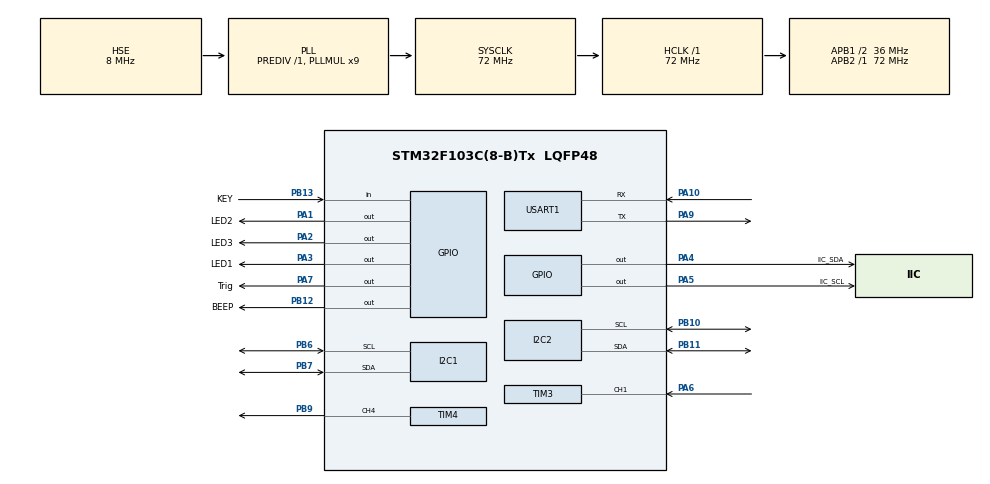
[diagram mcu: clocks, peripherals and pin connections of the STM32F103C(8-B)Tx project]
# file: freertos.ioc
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FREERTOS.Tasks01=myTask01,0,128,StartDefaultTask,Default,NULL,Dynamic,NULL,NULL;myTask02,-3,64,StartTask02,Default,NULL,Dynamic,NULL,NULL;myTask03,-3,64,StartTask03,Default,NULL,Dynamic,NULL,NULL;myTask04,-3,64,StartTask04,Default,NULL,Dynamic,NULL,NULL;myTask05,-3,64,StartTask05,Default,NULL,Dynamic,NULL,NULL;myTask06,-3,128,StartTask06,Default,NULL,Dynamic,NULL,NULL
FREERTOS.configMINIMAL_STACK_SIZE=64
Mcu.Family=STM32F1
Mcu.Name=STM32F103C(8-B)Tx
Mcu.Package=LQFP48
NVIC.PriorityGroup=NVIC_PRIORITYGROUP_4
NVIC.TIM1_UP_IRQn=true\:15\:0\:false\:false\:true\:false\:false\:true\:true
NVIC.TIM3_IRQn=true\:5\:0\:true\:false\:true\:true\:true\:true\:true
NVIC.TimeBase=TIM1_UP_IRQn
NVIC.TimeBaseIP=TIM1
PA1.GPIO_Label=LED2
PA1.GPIO_PuPd=GPIO_PULLUP
PA1.GPIO_Speed=GPIO_SPEED_FREQ_HIGH
PA1.PinState=GPIO_PIN_RESET
PA1.Signal=GPIO_Output
PA10.Mode=Asynchronous
PA10.Signal=USART1_RX
PA13.Mode=Serial_Wire
PA13.Signal=SYS_JTMS-SWDIO
PA14.Mode=Serial_Wire
PA14.Signal=SYS_JTCK-SWCLK
PA2.GPIO_Label=LED3
PA2.GPIO_PuPd=GPIO_PULLUP
PA2.GPIO_Speed=GPIO_SPEED_FREQ_HIGH
PA2.Signal=GPIO_Output
PA3.GPIO_Label=LED1
PA3.GPIO_PuPd=GPIO_PULLUP
PA3.GPIO_Speed=GPIO_SPEED_FREQ_HIGH
PA3.Signal=GPIO_Output
PA4.GPIO_Label=IIC_SDA
PA4.GPIO_ModeDefaultOutputPP=GPIO_MODE_OUTPUT_OD
PA4.GPIO_PuPd=GPIO_PULLUP
PA4.GPIO_Speed=GPIO_SPEED_FREQ_HIGH
PA4.PinState=GPIO_PIN_SET
PA4.Signal=GPIO_Output
PA5.GPIO_Label=IIC_SCL
PA5.GPIO_ModeDefaultOutputPP=GPIO_MODE_OUTPUT_OD
PA5.GPIO_PuPd=GPIO_PULLUP
PA5.GPIO_Speed=GPIO_SPEED_FREQ_HIGH
PA5.PinState=GPIO_PIN_SET
PA5.Signal=GPIO_Output
PA6.Signal=S_TIM3_CH1
PA7.GPIO_Label=Trig
PA7.GPIO_PuPd=GPIO_PULLUP
PA7.GPIO_Speed=GPIO_SPEED_FREQ_HIGH
PA7.Signal=GPIO_Output
PA9.Mode=Asynchronous
PA9.Signal=USART1_TX
PB10.Mode=I2C
PB10.Signal=I2C2_SCL
PB11.Mode=I2C
PB11.Signal=I2C2_SDA
PB12.GPIO_Label=BEEP
PB12.GPIO_PuPd=GPIO_PULLDOWN
PB12.GPIO_Speed=GPIO_SPEED_FREQ_HIGH
PB12.PinState=GPIO_PIN_SET
PB12.Signal=GPIO_Output
PB13.GPIO_Label=KEY
PB13.GPIO_PuPd=GPIO_PULLUP
PB13.Signal=GPIO_Input
PB6.Mode=I2C
PB6.Signal=I2C1_SCL
PB7.Mode=I2C
PB7.Signal=I2C1_SDA
PB9.Signal=S_TIM4_CH4
PC14-OSC32_IN.Mode=LSE-External-Oscillator
PC14-OSC32_IN.Signal=RCC_OSC32_IN
PC15-OSC32_OUT.Mode=LSE-External-Oscillator
PC15-OSC32_OUT.Signal=RCC_OSC32_OUT
PD0-OSC_IN.Mode=HSE-External-Oscillator
PD0-OSC_IN.Signal=RCC_OSC_IN
PD1-OSC_OUT.Mode=HSE-External-Oscillator
PD1-OSC_OUT.Signal=RCC_OSC_OUT
ProjectManager.HeapSize=0x200
ProjectManager.StackSize=0x400
ProjectManager.TargetToolchain=MDK-ARM V5.32
RCC.AHBFreq_Value=72000000
RCC.APB1CLKDivider=RCC_HCLK_DIV2
RCC.APB1Freq_Value=36000000
RCC.APB1TimFreq_Value=72000000
RCC.APB2Freq_Value=72000000
RCC.APB2TimFreq_Value=72000000
RCC.HCLKFreq_Value=72000000
RCC.PLLMUL=RCC_PLL_MUL9
RCC.PLLSourceVirtual=RCC_PLLSOURCE_HSE
RCC.SYSCLKFreq_VALUE=72000000
RCC.SYSCLKSource=RCC_SYSCLKSOURCE_PLLCLK
RCC.USBFreq_Value=72000000
SH.S_TIM3_CH1.0=TIM3_CH1,Input_Capture1_from_TI1
SH.S_TIM4_CH4.0=TIM4_CH4,PWM Generation4 CH4
TIM3.Channel-Input_Capture1_from_TI1=TIM_CHANNEL_1
TIM3.Prescaler=72-1
TIM4.Channel-PWM\ Generation4\ CH4=TIM_CHANNEL_4
TIM4.Period=10000-1
TIM4.Prescaler=72-1
USART1.VirtualMode=VM_ASYNC
VP_FREERTOS_VS_CMSIS_V1.Mode=CMSIS_V1
VP_SYS_VS_tim1.Mode=TIM1
VP_TIM3_VS_ClockSourceINT.Mode=Internal
VP_TIM4_VS_ClockSourceINT.Mode=Internal
board=custom

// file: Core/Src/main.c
/* USER CODE BEGIN Header */
/**
  ******************************************************************************
  * @file           : main.c
  * @brief          : Main program body
  ******************************************************************************
  * @attention
  *
  * Copyright (c) 2023 STMicroelectronics.
  * All rights reserved.
  *
  * This software is licensed under terms that can be found in the LICENSE file
  * in the root directory of this software component.
  * If no LICENSE file comes with this software, it is provided AS-IS.
  *
  ******************************************************************************
  */
/* USER CODE END Header */
#include "main.h"
#include "cmsis_os.h"
#include "i2c.h"
#include "tim.h"
#include "usart.h"
#include "gpio.h"

/* USER CODE BEGIN Includes */
#include "oled.h"
#include "SGP30.h"
#include "MPU6050.h"
#include <stdio.h>
/* USER CODE END Includes */

void SystemClock_Config(void);
void MX_FREERTOS_Init(void);

int main(void)
{

  /* MCU Configuration--------------------------------------------------------*/

  /* Reset of all peripherals, Initializes the Flash interface and the Systick. */
  HAL_Init();

  /* Configure the system clock */
  SystemClock_Config();

  /* Initialize all configured peripherals */
  MX_GPIO_Init();
  MX_USART1_UART_Init();
  MX_I2C1_Init();
  MX_I2C2_Init();
  MX_TIM3_Init();
  MX_TIM4_Init();
  /* USER CODE BEGIN 2 */

  OLED_Init();
	OLED_Clear();
  /* USER CODE END 2 */

  /* Call init function for freertos objects (in freertos.c) */
  MX_FREERTOS_Init();

  /* Start scheduler */
  osKernelStart();

  /* We should never get here as control is now taken by the scheduler */
  /* Infinite loop */
  while (1)
  {

  }
}

void SystemClock_Config(void)
{
  RCC_OscInitTypeDef RCC_OscInitStruct = {0};
  RCC_ClkInitTypeDef RCC_ClkInitStruct = {0};

  /** Initializes the RCC Oscillators according to the specified parameters
  * in the RCC_OscInitTypeDef structure.
  */
  RCC_OscInitStruct.OscillatorType = RCC_OSCILLATORTYPE_HSE;
  RCC_OscInitStruct.HSEState = RCC_HSE_ON;
  RCC_OscInitStruct.HSEPredivValue = RCC_HSE_PREDIV_DIV1;
  RCC_OscInitStruct.HSIState = RCC_HSI_ON;
  RCC_OscInitStruct.PLL.PLLState = RCC_PLL_ON;
  RCC_OscInitStruct.PLL.PLLSource = RCC_PLLSOURCE_HSE;
  RCC_OscInitStruct.PLL.PLLMUL = RCC_PLL_MUL9;
  if (HAL_RCC_OscConfig(&RCC_OscInitStruct) != HAL_OK)
  {
    Error_Handler();
  }

  /** Initializes the CPU, AHB and APB buses clocks
  */
  RCC_ClkInitStruct.ClockType = RCC_CLOCKTYPE_HCLK|RCC_CLOCKTYPE_SYSCLK
                              |RCC_CLOCKTYPE_PCLK1|RCC_CLOCKTYPE_PCLK2;
  RCC_ClkInitStruct.SYSCLKSource = RCC_SYSCLKSOURCE_PLLCLK;
  RCC_ClkInitStruct.AHBCLKDivider = RCC_SYSCLK_DIV1;
  RCC_ClkInitStruct.APB1CLKDivider = RCC_HCLK_DIV2;
  RCC_ClkInitStruct.APB2CLKDivider = RCC_HCLK_DIV1;

  if (HAL_RCC_ClockConfig(&RCC_ClkInitStruct, FLASH_LATENCY_2) != HAL_OK)
  {
    Error_Handler();
  }
}

void HAL_TIM_PeriodElapsedCallback(TIM_HandleTypeDef *htim)
{
  if (htim->Instance == TIM1) {
    HAL_IncTick();
  }
}

void Error_Handler(void)
{
  __disable_irq();
  while (1)
  {
  }
}

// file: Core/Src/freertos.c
/* USER CODE BEGIN Header */
/**
 ******************************************************************************
 * File Name          : freertos.c
 * Description        : Code for freertos applications
 ******************************************************************************
 * @attention
 *
 * Copyright (c) 2023 STMicroelectronics.
 * All rights reserved.
 *
 * This software is licensed under terms that can be found in the LICENSE file
 * in the root directory of this software component.
 * If no LICENSE file comes with this software, it is provided AS-IS.
 *
 ******************************************************************************
 */
/* USER CODE END Header */

#include "FreeRTOS.h"
#include "task.h"
#include "main.h"
#include "cmsis_os.h"

/* USER CODE BEGIN Includes */
#include "tim.h"
#include "gpio.h"
#include "oled.h"
#include "SGP30.h"
#include "MPU6050.h"
#include "hcsr04.h"
#include <stdio.h>
/* USER CODE END Includes */

/* USER CODE BEGIN PTD */
extern HCSR04 hcsr04;
int16_t AX, AY, AZ, GX, GY, GZ;
uint16_t TVOC = 0, CO2 = 0;

/* USER CODE END PTD */

osThreadId myTask01Handle;
osThreadId myTask02Handle;
osThreadId myTask03Handle;
osThreadId myTask04Handle;
osThreadId myTask05Handle;
osThreadId myTask06Handle;

void StartDefaultTask(void const *argument);
void StartTask02(void const *argument);
void StartTask03(void const *argument);
void StartTask04(void const *argument);
void StartTask05(void const *argument);
void StartTask06(void const *argument);

void MX_FREERTOS_Init(void); /* (MISRA C 2004 rule 8.1) */

/* GetIdleTaskMemory prototype (linked to static allocation support) */
void vApplicationGetIdleTaskMemory(StaticTask_t **ppxIdleTaskTCBBuffer, StackType_t **ppxIdleTaskStackBuffer, uint32_t *pulIdleTaskStackSize);

/* USER CODE BEGIN GET_IDLE_TASK_MEMORY */
static StaticTask_t xIdleTaskTCBBuffer;
static StackType_t xIdleStack[configMINIMAL_STACK_SIZE];

void vApplicationGetIdleTaskMemory(StaticTask_t **ppxIdleTaskTCBBuffer, StackType_t **ppxIdleTaskStackBuffer, uint32_t *pulIdleTaskStackSize)
{
    *ppxIdleTaskTCBBuffer = &xIdleTaskTCBBuffer;
    *ppxIdleTaskStackBuffer = &xIdleStack[0];
    *pulIdleTaskStackSize = configMINIMAL_STACK_SIZE;
    /* place for user code */
}
/* USER CODE END GET_IDLE_TASK_MEMORY */

void MX_FREERTOS_Init(void)
{

    /* Create the thread(s) */
    /* definition and creation of myTask01 */
    osThreadDef(myTask01, StartDefaultTask, osPriorityNormal, 0, 128);
    myTask01Handle = osThreadCreate(osThread(myTask01), NULL);

    /* definition and creation of myTask02 */
    osThreadDef(myTask02, StartTask02, osPriorityIdle, 0, 32);
    myTask02Handle = osThreadCreate(osThread(myTask02), NULL);

    /* definition and creation of myTask03 */
    osThreadDef(myTask03, StartTask03, osPriorityIdle, 0, 32);
    myTask03Handle = osThreadCreate(osThread(myTask03), NULL);

    /* definition and creation of myTask04 */
    osThreadDef(myTask04, StartTask04, osPriorityIdle, 0, 64);
    myTask04Handle = osThreadCreate(osThread(myTask04), NULL);

    /* definition and creation of myTask05 */
    osThreadDef(myTask05, StartTask05, osPriorityIdle, 0, 128);
    myTask05Handle = osThreadCreate(osThread(myTask05), NULL);

    /* definition and creation of myTask06 */
    osThreadDef(myTask06, StartTask06, osPriorityIdle, 0, 128);
    myTask06Handle = osThreadCreate(osThread(myTask06), NULL);

}

void StartDefaultTask(void const *argument)
{
    /* USER CODE BEGIN StartDefaultTask */
    MX_GPIO_Init();
    MPU6050_Init();
    /* Infinite loop */
    while (1)
    {
        osDelay(100);
        MPU6050_GetData(&AX, &AY, &AZ, &GX, &GY, &GZ);
        printf(" AX:%5d AY:%5d AZ:%5d GX:%5d GY:%5d GZ:%5d\r\n", AX, AY, AZ, GX, GY, GZ);
    }
    /* USER CODE END StartDefaultTask */
}

void StartTask02(void const *argument)
{
    /* USER CODE BEGIN StartTask02 */
    /* Infinite loop */
    // uint16_t pwmVal = 0; // PWMռ�ձ�

    while (1)
    {
        //	  while (pwmVal< 10)
        //	  {
        //		  pwmVal++;
        //   __HAL_TIM_SetCompare(&htim4, TIM_CHANNEL_4, 100);    //�޸ıȽ�ֵ���޸�ռ�ձ�
        //		  osDelay(10);
        //	  }
        //	  while (pwmVal)
        //	  {
        //		  pwmVal--;
        //		  __HAL_TIM_SetCompare(&htim4, TIM_CHANNEL_4, pwmVal);    //�޸ıȽ�ֵ���޸�ռ�ձ�
        //		  osDelay(10);
        //	  }
    }
    /* USER CODE END StartTask02 */
}

void StartTask03(void const *argument)
{
    /* USER CODE BEGIN StartTask03 */
    /* Infinite loop */
    while (1)
    {
        HAL_GPIO_WritePin(GPIOA, LED2_Pin, GPIO_PIN_SET);
        osDelay(2000);
        HAL_GPIO_WritePin(GPIOA, LED2_Pin, GPIO_PIN_RESET);
        osDelay(500);
    }
    /* USER CODE END StartTask03 */
}

void StartTask04(void const *argument)
{
    while (1)
    {
    }
}

void StartTask05(void const *argument)
{
    /* USER CODE BEGIN StartTask05 */

    /* Infinite loop */
    MX_GPIO_Init();
    HAL_TIM_PWM_Start(&htim4, TIM_CHANNEL_4);
    while (1)
    {
        key_open_light();
        car_distance();
    }
    /* USER CODE END StartTask05 */
}

void StartTask06(void const *argument)
{
    /* USER CODE BEGIN StartTask06 */
    while (sgp30_init() < 0)
    {
        osDelay(1000);
    }
    do
    {
        if (sgp30_read(&CO2, &TVOC) < 0)
        {
        }
        else
        {
        }
        osDelay(500);
    } while (TVOC == 0 && CO2 == 400);
    OLED_ShowString(0, 0, "CO2:", 16);
    OLED_ShowString(0, 4, "TVOC:", 16);
    /* Infinite loop */
    while (1)
    {
        sgp30_read(&CO2, &TVOC);
        if(CO2>350&&CO2<450)
        {
            HAL_GPIO_WritePin(BEEP_GPIO_Port, BEEP_Pin, GPIO_PIN_SET);
        }
        else if(CO2>450)
        {
            HAL_GPIO_WritePin(BEEP_GPIO_Port, BEEP_Pin, GPIO_PIN_RESET);
        }
        else if(TVOC>350&&TVOC<1000)
        {
            HAL_GPIO_WritePin(BEEP_GPIO_Port, BEEP_Pin, GPIO_PIN_SET);
        }
        else if(TVOC>1000)
        {
            HAL_GPIO_WritePin(BEEP_GPIO_Port, BEEP_Pin, GPIO_PIN_RESET);
        }
        OLED_ShowNum(32, 0, CO2, 4, 16);
        OLED_ShowNum(48, 4, TVOC, 3, 16);
        osDelay(500);
    }
    /* USER CODE END StartTask06 */
}
